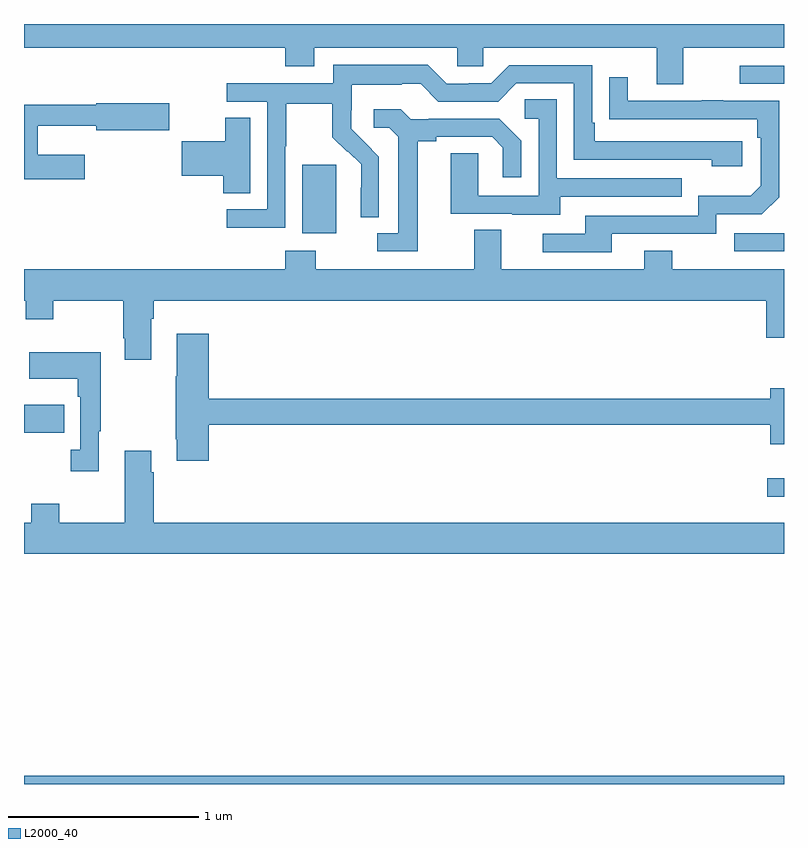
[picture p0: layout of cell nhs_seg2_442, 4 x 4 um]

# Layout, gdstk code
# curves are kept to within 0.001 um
import gdstk
lib = gdstk.Library(unit=1e-6, precision=1e-09)
def R(c, l, rs):  # rectangles x0, y0, x1, y1
    for r in rs: c.add(gdstk.rectangle(r[:2], r[2:], *l))
def P(c, l, *ps):  # polygons
    for p in ps: c.add(gdstk.Polygon(p, *l))
L2000_40 = (2000, 40)

nhs_seg2_442 = lib.new_cell('nhs_seg2_442')
R(nhs_seg2_442, L2000_40, [(133,603.8,137,603.844), (136.911,605.312,137,605.409), (133,605.65,133.211,605.797), (136.737,606.603,137,606.699), (134.465,606.698,134.644,607.059), (136.767,607.485,137,607.581)])
P(nhs_seg2_442, L2000_40, [(136.471,607.676),(137,607.676),(137,607.8),(133,607.8),(133,607.676),(134.375,607.676),(134.375,607.577),(134.527,607.577),(134.527,607.676),(135.279,607.676),(135.279,607.578),(135.417,607.578),(135.417,607.676),(136.331,607.676),(136.331,607.482),(136.471,607.482)],
  [(134.376,607.156),(134.379,607.156),(134.379,607.38),(134.623,607.38),(134.623,607.205),(134.7,607.128),(134.703,607.131),(134.774,607.061),(134.774,606.938),(134.772,606.938),(134.772,606.784),(134.868,606.784),(134.868,607.102),(134.722,607.25),(134.722,607.347),(134.724,607.347),(134.724,607.481),(134.987,607.481),(134.987,607.485),(135.087,607.485),(135.18,607.392),(135.495,607.392),(135.591,607.488),(135.894,607.488),(135.894,607.086),(136.619,607.086),(136.619,607.052),(136.78,607.052),(136.78,607.182),(136.003,607.182),(136.003,607.279),(135.99,607.279),(135.99,607.584),(135.555,607.584),(135.459,607.488),(135.341,607.488),(135.341,607.485),(135.225,607.485),(135.125,607.585),(134.628,607.585),(134.628,607.488),(134.067,607.488),(134.067,607.392),(134.28,607.392),(134.28,606.825),(134.067,606.825),(134.067,606.727),(134.376,606.727)],
  [(136.093,606.696),(136.644,606.696),(136.644,606.798),(136.884,606.798),(136.974,606.888),(136.974,607.395),(136.679,607.395),(136.679,607.4),(136.567,607.4),(136.567,607.395),(136.177,607.395),(136.177,607.519),(136.081,607.519),(136.081,607.3),(136.858,607.299),(136.858,607.202),(136.878,607.202),(136.878,606.948),(136.825,606.895),(136.548,606.895),(136.548,606.792),(135.953,606.792),(135.953,606.696),(135.729,606.696),(135.729,606.6),(136.093,606.6)],
  [(135.823,606.891),(136.463,606.891),(136.463,606.987),(135.804,606.987),(135.804,607.403),(135.636,607.403),(135.636,607.302),(135.708,607.302),(135.708,606.897),(135.39,606.897),(135.39,607.121),(135.245,607.121),(135.245,606.801),(135.569,606.801),(135.569,606.797),(135.823,606.797)],
  [(133.321,607.111),(133.072,607.111),(133.072,607.265),(133.38,607.265),(133.38,607.241),(133.765,607.241),(133.765,607.383),(133.38,607.383),(133.38,607.375),(133,607.375),(133,606.982),(133.321,606.982)],
  [(135.073,607.184),(135.169,607.184),(135.169,607.206),(135.464,607.206),(135.521,607.149),(135.521,606.993),(135.618,606.993),(135.618,607.186),(135.502,607.302),(135.13,607.302),(135.13,607.299),(135.036,607.299),(134.984,607.351),(134.841,607.351),(134.841,607.254),(134.922,607.254),(134.969,607.207),(134.969,606.699),(134.859,606.699),(134.859,606.603),(135.073,606.603)],
  [(134.191,607.307),(134.06,607.307),(134.06,607.184),(133.83,607.184),(133.83,607.001),(134.048,607.001),(134.048,606.91),(134.191,606.91)],
  [(133.669,606.248),(133.682,606.248),(133.682,606.344),(136.907,606.344),(136.907,606.15),(137,606.15),(137,606.508),(136.413,606.508),(136.413,606.607),(136.265,606.607),(136.265,606.508),(135.511,606.508),(135.511,606.716),(135.371,606.716),(135.371,606.508),(134.535,606.508),(134.535,606.607),(134.375,606.607),(134.375,606.508),(133,606.508),(133,606.344),(133.008,606.344),(133.008,606.245),(133.155,606.245),(133.155,606.344),(133.522,606.344),(133.522,606.145),(133.529,606.145),(133.529,606.033),(133.669,606.033)],
  [(133.973,605.692),(136.928,605.692),(136.928,605.588),(137,605.588),(137,605.884),(136.928,605.884),(136.928,605.828),(133.973,605.828),(133.973,606.169),(133.805,606.169),(133.805,605.945),(133.798,605.945),(133.798,605.614),(133.805,605.614),(133.805,605.502),(133.973,605.502)],
  [(133.393,605.657),(133.405,605.657),(133.405,606.073),(133.027,606.073),(133.027,605.933),(133.284,605.933),(133.284,605.837),(133.296,605.837),(133.296,605.558),(133.245,605.558),(133.245,605.445),(133.393,605.445)],
  [(133.037,605.275),(133.037,605.176),(133,605.176),(133,605.012),(137,605.012),(137,605.176),(133.682,605.176),(133.682,605.441),(133.669,605.441),(133.669,605.554),(133.529,605.554),(133.529,605.176),(133.185,605.176),(133.185,605.275)])

lib.write_gds('nhs_seg2_442.gds')
